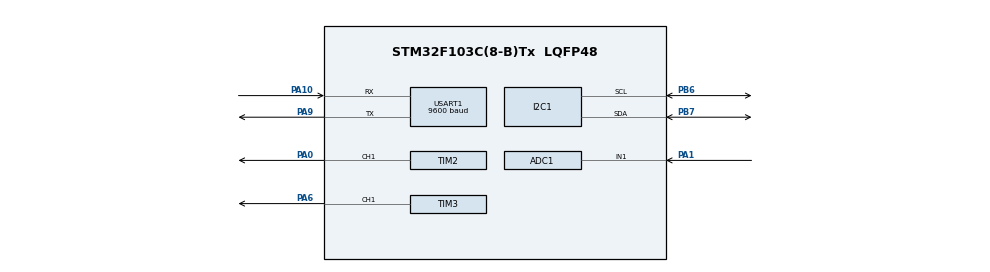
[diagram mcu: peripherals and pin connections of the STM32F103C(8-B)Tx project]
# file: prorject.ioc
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ADC1.Channel-0\#ChannelRegularConversion=ADC_CHANNEL_1
ADC1.ContinuousConvMode=ENABLE
ADC1.NbrOfConversionFlag=1
ADC1.Rank-0\#ChannelRegularConversion=1
ADC1.SamplingTime-0\#ChannelRegularConversion=ADC_SAMPLETIME_239CYCLES_5
ADC1.master=1
Mcu.Family=STM32F1
Mcu.Name=STM32F103C(8-B)Tx
Mcu.Package=LQFP48
NVIC.ADC1_2_IRQn=true\:0\:0\:false\:false\:true\:true\:true
NVIC.PriorityGroup=NVIC_PRIORITYGROUP_4
NVIC.TIM2_IRQn=true\:0\:0\:false\:false\:true\:true\:true
NVIC.TIM3_IRQn=true\:0\:0\:false\:false\:true\:true\:true
NVIC.USART1_IRQn=true\:0\:0\:false\:false\:true\:true\:true
PA0-WKUP.Signal=S_TIM2_CH1_ETR
PA1.Signal=ADCx_IN1
PA10.Mode=Asynchronous
PA10.Signal=USART1_RX
PA13.Mode=Serial_Wire
PA13.Signal=SYS_JTMS-SWDIO
PA14.Mode=Serial_Wire
PA14.Signal=SYS_JTCK-SWCLK
PA6.Signal=S_TIM3_CH1
PA9.Mode=Asynchronous
PA9.Signal=USART1_TX
PB6.Mode=I2C
PB6.Signal=I2C1_SCL
PB7.Mode=I2C
PB7.Signal=I2C1_SDA
ProjectManager.HeapSize=0x200
ProjectManager.StackSize=0x400
ProjectManager.TargetToolchain=MDK-ARM V5.27
RCC.APB1Freq_Value=8000000
RCC.APB2Freq_Value=8000000
SH.ADCx_IN1.0=ADC1_IN1,IN1
SH.S_TIM2_CH1_ETR.0=TIM2_CH1,PWM Generation1 CH1
SH.S_TIM3_CH1.0=TIM3_CH1,PWM Generation1 CH1
TIM2.Channel-PWM\ Generation1\ CH1=TIM_CHANNEL_1
TIM2.Period=999
TIM2.Prescaler=64000
TIM2.Pulse-PWM\ Generation1\ CH1=500
TIM3.Channel-PWM\ Generation1\ CH1=TIM_CHANNEL_1
TIM3.Period=999
TIM3.Prescaler=23999
TIM3.Pulse-PWM\ Generation1\ CH1=500
USART1.BaudRate=9600
USART1.VirtualMode=VM_ASYNC
VP_TIM2_VS_ClockSourceINT.Mode=Internal
VP_TIM3_VS_ClockSourceINT.Mode=Internal
board=custom

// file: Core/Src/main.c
/* USER CODE BEGIN Header */
/**
  ******************************************************************************
  * @file           : main.c
  * @brief          : Main program body
  ******************************************************************************
  * @attention
  *
  * <h2><center>&copy; Copyright (c) 2021 STMicroelectronics.
  * All rights reserved.</center></h2>
  *
  * This software component is licensed by ST under BSD 3-Clause license,
  * the "License"; You may not use this file except in compliance with the
  * License. You may obtain a copy of the License at:
  *                        opensource.org/licenses/BSD-3-Clause
  *
  ******************************************************************************
  */
/* USER CODE END Header */
#include "main.h"

extern ADC_HandleTypeDef hadc1;
extern I2C_HandleTypeDef hi2c1;
extern TIM_HandleTypeDef htim2;
extern TIM_HandleTypeDef htim3;
extern UART_HandleTypeDef huart1;

/* USER CODE BEGIN PV */
HAL_StatusTypeDef ret;

extern uint8_t EpromGelen[100];
extern uint8_t RData[20];
extern uint8_t RDataKopya[20];
extern char transmitData[100];

extern float Ax,Ay,Az,Gx,Gy,Gz;
extern uint8_t tData[];
extern uint8_t num1;
extern uint8_t num2;
extern uint8_t EpSayac ;
extern uint8_t EpTimkontrol ;
extern uint8_t i4;
extern int16_t AdcValue;
extern int16_t sayac;
extern int16_t AdcValue;
extern int j1;
extern int j2;
extern int sayac1;
extern int i3;
extern int i1;
extern int i6;
extern int i2;
extern int i5;
extern int kontrolInter;
int i7;

/* USER CODE END PV */

void SystemClock_Config(void);
static void MX_GPIO_Init(void);
static void MX_I2C1_Init(void);
static void MX_TIM3_Init(void);
static void MX_ADC1_Init(void);
static void MX_USART1_UART_Init(void);
static void MX_TIM2_Init(void);

int main(void)
{

  /* MCU Configuration--------------------------------------------------------*/

  /* Reset of all peripherals, Initializes the Flash interface and the Systick. */
  HAL_Init();

  /* Configure the system clock */
  SystemClock_Config();

  /* Initialize all configured peripherals */
  MX_GPIO_Init();
  MX_I2C1_Init();
  MX_TIM3_Init();
  MX_ADC1_Init();
  MX_USART1_UART_Init();
  MX_TIM2_Init();
  /* USER CODE BEGIN 2 */
	HAL_TIM_Base_Start_IT(&htim2); // timer aktif
	HAL_TIM_Base_Start_IT(&htim3); // timer aktif

	HAL_ADC_Start_IT(&hadc1); // adc aktif
  __HAL_UART_ENABLE_IT(&huart1,UART_IT_RXNE);	 // USART

		EpSayac=0;

  /* USER CODE END 2 */

  /* Infinite loop */
  /* USER CODE BEGIN WHILE */
  while (1)
  {

		if(kontrolInter>0){
		    if(RDataKopya[0]!='R')	{
			  kontrolInter=0;
      for(i3=0; i3<=20;i3++){
	        i4=RDataKopya[i3];

		  switch(i4){
	        case '+':

	              for(i5=0; i5<i3;i5++){
					        num1=num1*10;
	               num1=num1+(uint8_t)RDataKopya[i5]-48;
	                }

				          i6=i3+1;

	                while(1){
					        if(RDataKopya[i6]==0){
					        break;
					        }

					        num2=num2*10;
			            num2=num2+(uint8_t)RDataKopya[i6]-48;
					        i6++;
	                }

	                sprintf(transmitData,"%d+%d=%d \n \r",num1,num2,num1+num2);
	                HAL_UART_Transmit(&huart1,(uint8_t*)transmitData,strlen(transmitData),1000 );

	         break;

	        case '-':

	              for(i5=0; i5<i3;i5++){
					        num1=num1*10;
	                num1=num1+(uint8_t)RDataKopya[i5]-48;
	                }

				          i6=i3+1;

	                while(1){
					        if(RDataKopya[i6]==0){
					        break;
					        }

					        num2=num2*10;
			            num2=num2+(uint8_t)RDataKopya[i6]-48;
					        i6++;
	                }

	                sprintf(transmitData,"%d-%d=%d \n \r",num1,num2,num1-num2);
	                HAL_UART_Transmit(&huart1,(uint8_t*)transmitData,strlen(transmitData),1000 );

	         break;

	        case '*':

	              for(i5=0; i5<i3;i5++){
					        num1=num1*10;
	                num1=num1+(uint8_t)RDataKopya[i5]-48;
	                }

				          i6=i3+1;

	                while(1){
					        if(RDataKopya[i6]==0){
					        break;
					        }

					        num2=num2*10;
			            num2=num2+(uint8_t)RDataKopya[i6]-48;
					        i6++;
	                }

	                sprintf(transmitData,"%d*%d=%d \n \r",num1,num2,num1*num2);
	                HAL_UART_Transmit(&huart1,(uint8_t*)transmitData,strlen(transmitData),1000 );

	         break;

	        case '/':

	              for(i5=0; i5<i3;i5++){
					        num1=num1*10;
	                num1=num1+(uint8_t)RDataKopya[i5]-48;
	                }

				          i6=i3+1;

	                while(1){
					        if(RDataKopya[i6]==0){
					        break;
					        }

					        num2=num2*10;
			            num2=num2+(uint8_t)RDataKopya[i6]-48;
					        i6++;
	                }

	                sprintf(transmitData,"%d/%d=%d \n \r",num1,num2,num1/num2);
	                HAL_UART_Transmit(&huart1,(uint8_t*)transmitData,strlen(transmitData),1000 );

	         break;

	}
    i4=0;
    i5=0;
    i6=0;

				}

		} else {
	    importEEprom();
         }

          __HAL_UART_ENABLE_IT(&huart1,UART_IT_RXNE);
}

	  	if(EpTimkontrol>0){
		   EpTimkontrol=0;
       EpromaSave();

			}

    /* USER CODE END WHILE */

  }
}

int importEEprom(void){

			i7=0;
			while (i7<EpSayac){
			  EpromGelen[i7]=_readEEPROM(&hi2c1, 0xA0, i7);
			  sprintf(transmitData,"%d#",EpromGelen[i7]);
	      HAL_UART_Transmit(&huart1,(uint8_t*)transmitData,strlen(transmitData),30 );
				i7++;
			}

			  sprintf(transmitData,"\n");
	      HAL_UART_Transmit(&huart1,(uint8_t*)transmitData,strlen(transmitData),1 );
    	  _eraseEEPROM(&hi2c1, 0xA0);
			  EpSayac=0;

			RDataKopya[0]=0;

return 0;
}

int EpromaSave(void){
	     _writeEEPROM(&hi2c1, 0xA0,EpSayac, (int)AdcValue);
	     EpSayac++;
return 0;
}

void SystemClock_Config(void)
{
  RCC_OscInitTypeDef RCC_OscInitStruct = {0};
  RCC_ClkInitTypeDef RCC_ClkInitStruct = {0};
  RCC_PeriphCLKInitTypeDef PeriphClkInit = {0};

  /** Initializes the RCC Oscillators according to the specified parameters
  * in the RCC_OscInitTypeDef structure.
  */
  RCC_OscInitStruct.OscillatorType = RCC_OSCILLATORTYPE_HSI;
  RCC_OscInitStruct.HSIState = RCC_HSI_ON;
  RCC_OscInitStruct.HSICalibrationValue = RCC_HSICALIBRATION_DEFAULT;
  RCC_OscInitStruct.PLL.PLLState = RCC_PLL_NONE;
  if (HAL_RCC_OscConfig(&RCC_OscInitStruct) != HAL_OK)
  {
    Error_Handler();
  }
  /** Initializes the CPU, AHB and APB buses clocks
  */
  RCC_ClkInitStruct.ClockType = RCC_CLOCKTYPE_HCLK|RCC_CLOCKTYPE_SYSCLK
                              |RCC_CLOCKTYPE_PCLK1|RCC_CLOCKTYPE_PCLK2;
  RCC_ClkInitStruct.SYSCLKSource = RCC_SYSCLKSOURCE_HSI;
  RCC_ClkInitStruct.AHBCLKDivider = RCC_SYSCLK_DIV1;
  RCC_ClkInitStruct.APB1CLKDivider = RCC_HCLK_DIV1;
  RCC_ClkInitStruct.APB2CLKDivider = RCC_HCLK_DIV1;

  if (HAL_RCC_ClockConfig(&RCC_ClkInitStruct, FLASH_LATENCY_0) != HAL_OK)
  {
    Error_Handler();
  }
  PeriphClkInit.PeriphClockSelection = RCC_PERIPHCLK_ADC;
  PeriphClkInit.AdcClockSelection = RCC_ADCPCLK2_DIV2;
  if (HAL_RCCEx_PeriphCLKConfig(&PeriphClkInit) != HAL_OK)
  {
    Error_Handler();
  }
}

static void MX_ADC1_Init(void)
{

  ADC_ChannelConfTypeDef sConfig = {0};

  /** Common config
  */
  hadc1.Instance = ADC1;
  hadc1.Init.ScanConvMode = ADC_SCAN_DISABLE;
  hadc1.Init.ContinuousConvMode = ENABLE;
  hadc1.Init.DiscontinuousConvMode = DISABLE;
  hadc1.Init.ExternalTrigConv = ADC_SOFTWARE_START;
  hadc1.Init.DataAlign = ADC_DATAALIGN_RIGHT;
  hadc1.Init.NbrOfConversion = 1;
  if (HAL_ADC_Init(&hadc1) != HAL_OK)
  {
    Error_Handler();
  }
  /** Configure Regular Channel
  */
  sConfig.Channel = ADC_CHANNEL_1;
  sConfig.Rank = ADC_REGULAR_RANK_1;
  sConfig.SamplingTime = ADC_SAMPLETIME_239CYCLES_5;
  if (HAL_ADC_ConfigChannel(&hadc1, &sConfig) != HAL_OK)
  {
    Error_Handler();
  }

}

static void MX_I2C1_Init(void)
{

  hi2c1.Instance = I2C1;
  hi2c1.Init.ClockSpeed = 100000;
  hi2c1.Init.DutyCycle = I2C_DUTYCYCLE_2;
  hi2c1.Init.OwnAddress1 = 0;
  hi2c1.Init.AddressingMode = I2C_ADDRESSINGMODE_7BIT;
  hi2c1.Init.DualAddressMode = I2C_DUALADDRESS_DISABLE;
  hi2c1.Init.OwnAddress2 = 0;
  hi2c1.Init.GeneralCallMode = I2C_GENERALCALL_DISABLE;
  hi2c1.Init.NoStretchMode = I2C_NOSTRETCH_DISABLE;
  if (HAL_I2C_Init(&hi2c1) != HAL_OK)
  {
    Error_Handler();
  }

}

static void MX_TIM2_Init(void)
{

  TIM_ClockConfigTypeDef sClockSourceConfig = {0};
  TIM_MasterConfigTypeDef sMasterConfig = {0};
  TIM_OC_InitTypeDef sConfigOC = {0};

  htim2.Instance = TIM2;
  htim2.Init.Prescaler = 64000;
  htim2.Init.CounterMode = TIM_COUNTERMODE_UP;
  htim2.Init.Period = 999;
  htim2.Init.ClockDivision = TIM_CLOCKDIVISION_DIV1;
  htim2.Init.AutoReloadPreload = TIM_AUTORELOAD_PRELOAD_DISABLE;
  if (HAL_TIM_Base_Init(&htim2) != HAL_OK)
  {
    Error_Handler();
  }
  sClockSourceConfig.ClockSource = TIM_CLOCKSOURCE_INTERNAL;
  if (HAL_TIM_ConfigClockSource(&htim2, &sClockSourceConfig) != HAL_OK)
  {
    Error_Handler();
  }
  if (HAL_TIM_PWM_Init(&htim2) != HAL_OK)
  {
    Error_Handler();
  }
  sMasterConfig.MasterOutputTrigger = TIM_TRGO_RESET;
  sMasterConfig.MasterSlaveMode = TIM_MASTERSLAVEMODE_DISABLE;
  if (HAL_TIMEx_MasterConfigSynchronization(&htim2, &sMasterConfig) != HAL_OK)
  {
    Error_Handler();
  }
  sConfigOC.OCMode = TIM_OCMODE_PWM1;
  sConfigOC.Pulse = 500;
  sConfigOC.OCPolarity = TIM_OCPOLARITY_HIGH;
  sConfigOC.OCFastMode = TIM_OCFAST_DISABLE;
  if (HAL_TIM_PWM_ConfigChannel(&htim2, &sConfigOC, TIM_CHANNEL_1) != HAL_OK)
  {
    Error_Handler();
  }
  HAL_TIM_MspPostInit(&htim2);

}

static void MX_TIM3_Init(void)
{

  TIM_ClockConfigTypeDef sClockSourceConfig = {0};
  TIM_MasterConfigTypeDef sMasterConfig = {0};
  TIM_OC_InitTypeDef sConfigOC = {0};

  htim3.Instance = TIM3;
  htim3.Init.Prescaler = 23999;
  htim3.Init.CounterMode = TIM_COUNTERMODE_UP;
  htim3.Init.Period = 999;
  htim3.Init.ClockDivision = TIM_CLOCKDIVISION_DIV1;
  htim3.Init.AutoReloadPreload = TIM_AUTORELOAD_PRELOAD_DISABLE;
  if (HAL_TIM_Base_Init(&htim3) != HAL_OK)
  {
    Error_Handler();
  }
  sClockSourceConfig.ClockSource = TIM_CLOCKSOURCE_INTERNAL;
  if (HAL_TIM_ConfigClockSource(&htim3, &sClockSourceConfig) != HAL_OK)
  {
    Error_Handler();
  }
  if (HAL_TIM_PWM_Init(&htim3) != HAL_OK)
  {
    Error_Handler();
  }
  sMasterConfig.MasterOutputTrigger = TIM_TRGO_RESET;
  sMasterConfig.MasterSlaveMode = TIM_MASTERSLAVEMODE_DISABLE;
  if (HAL_TIMEx_MasterConfigSynchronization(&htim3, &sMasterConfig) != HAL_OK)
  {
    Error_Handler();
  }
  sConfigOC.OCMode = TIM_OCMODE_PWM1;
  sConfigOC.Pulse = 500;
  sConfigOC.OCPolarity = TIM_OCPOLARITY_HIGH;
  sConfigOC.OCFastMode = TIM_OCFAST_DISABLE;
  if (HAL_TIM_PWM_ConfigChannel(&htim3, &sConfigOC, TIM_CHANNEL_1) != HAL_OK)
  {
    Error_Handler();
  }
  HAL_TIM_MspPostInit(&htim3);

}

static void MX_USART1_UART_Init(void)
{

  huart1.Instance = USART1;
  huart1.Init.BaudRate = 9600;
  huart1.Init.WordLength = UART_WORDLENGTH_8B;
  huart1.Init.StopBits = UART_STOPBITS_1;
  huart1.Init.Parity = UART_PARITY_NONE;
  huart1.Init.Mode = UART_MODE_TX_RX;
  huart1.Init.HwFlowCtl = UART_HWCONTROL_NONE;
  huart1.Init.OverSampling = UART_OVERSAMPLING_16;
  if (HAL_UART_Init(&huart1) != HAL_OK)
  {
    Error_Handler();
  }

}

static void MX_GPIO_Init(void)
{

  /* GPIO Ports Clock Enable */
  __HAL_RCC_GPIOA_CLK_ENABLE();
  __HAL_RCC_GPIOB_CLK_ENABLE();

}

void Error_Handler(void)
{
  __disable_irq();
  while (1)
  {
  }
}

/************************ (C) COPYRIGHT STMicroelectronics *****END OF FILE****/
